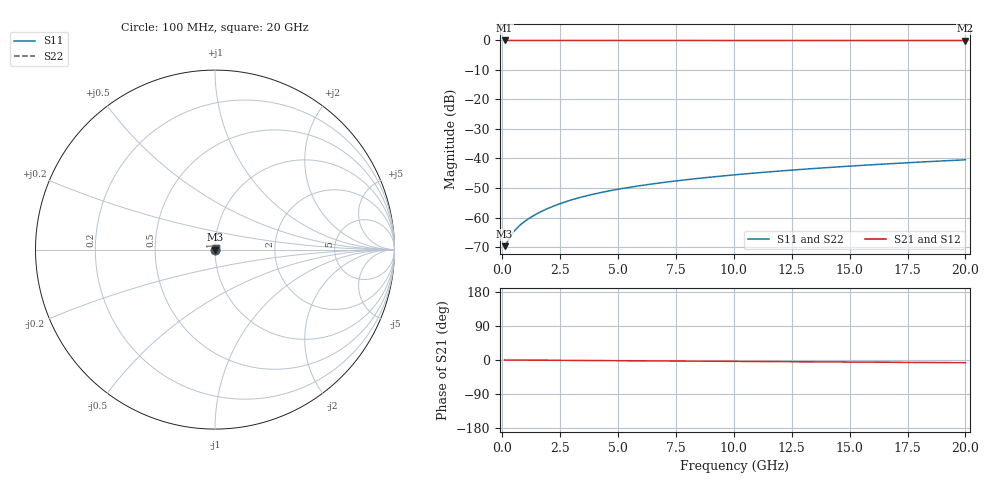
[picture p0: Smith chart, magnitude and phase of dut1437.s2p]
! Touchstone file exported from HFSS 2026.1.0
!  File:  C:/ffzhzh/LocalFiles/Ansys_Project_Files/temp_train_TSV_1437_1783197627_43440.aedt
!  Generated:  04:42:01 AM Jul  5, 2026
!  Design:  TSV
!  Project:  temp_train_TSV_1437_1783197627_43440
! Variables:
!  h_bsmrdl = 2um
!  h_ox = 20um
!  h_rdl = 5um
!  h_sub = 74.68um
!  h_tmrdl = 5um
!  h_tsv = 74.68um
!  h_via = 3um
!  l_bsmrdl = 300um
!  l_sub = 411.18um
!  l_tmrdl = 200um
!  m_sub = 200um
!  pitch = 25.06um
!  r_tsv = 5.59um
!  s_tmrdl = 10um
!  w_bsmrdl = 18um
!  w_sub = 500um
!  w_tmrdl = 12um
!  x_tsv_center1 = 206um
!  x_tsv_center2 = 524um
!  x_tsv_center3 = 736um
!  x_tsv_center4 = 1054um
!  x_tsv_center5 = 1266um
!  x_tsv_center6 = 1584um
# GHz S MA R 50.000000
! Terminal data exported
! Port[1] = TSV1_1_T1
! Port[2] = TSV1_1_T2
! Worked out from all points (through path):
!   200 points, 100 MHz to 20 GHz, reference 50 ohm
!   highest |S21| = 0.00 dB at 100 MHz (marker M1); lowest = 0.0 dB at 20 GHz (marker M2)
!   lowest |S11| = -69.7 dB at 100 MHz (marker M3), VSWR 1.00, Z = 50 + j0.00962 ohm
!   |S11| at or under -10 dB: start of sweep to end of sweep
!   |S22| runs from -69.7 to -40.4 dB; largest |S21 - S12| = 3.2e-15
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0.1  0.0003268 17.1  0.9997 -0.0  0.9997 -0.0  0.0003268 17.1
! Gamma 0 0 0 0
! Port Impedance 50 0 50 0
0.4  0.0005104 43.1  0.9996 -0.2  0.9996 -0.2  0.0005104 43.1
0.5  0.000577 46.7  0.9996 -0.2  0.9996 -0.2  0.000577 46.7
0.6  0.0006409 49.3  0.9996 -0.2  0.9996 -0.2  0.0006409 49.3
0.7  0.0007022 51.3  0.9996 -0.3  0.9996 -0.3  0.0007023 51.3
0.9  0.0008197 54.7  0.9995 -0.3  0.9995 -0.3  0.0008197 54.7
1.2  0.0009903 58.4  0.9995 -0.4  0.9995 -0.4  0.0009903 58.4
1.4  0.001103 60.3  0.9995 -0.5  0.9995 -0.5  0.001103 60.3
1.7  0.001273 62.6  0.9994 -0.6  0.9994 -0.6  0.001273 62.6
2.2  0.001554 65.1  0.9994 -0.8  0.9994 -0.8  0.001554 65.1
2.8  0.001886 66.9  0.9993 -1.0  0.9993 -1.0  0.001886 66.9
3.5  0.00226 68.1  0.9992 -1.3  0.9992 -1.3  0.00226 68.1
4.2  0.002619 68.8  0.9991 -1.5  0.9991 -1.5  0.002619 68.8
5  0.003013 69.3  0.999 -1.8  0.999 -1.8  0.003012 69.3
5.8  0.003392 69.7  0.9989 -2.1  0.9989 -2.1  0.003392 69.7
6.8  0.003853 70.1  0.9988 -2.5  0.9988 -2.5  0.003853 70.1
8.3  0.004525 70.7  0.9987 -3.0  0.9987 -3.0  0.004525 70.7
10.1  0.005316 71.1  0.9986 -3.6  0.9986 -3.6  0.005316 71.1
11.7  0.006011 71.4  0.9985 -4.2  0.9985 -4.2  0.006011 71.4
13.4  0.006743 71.5  0.9984 -4.8  0.9984 -4.8  0.006743 71.5
16.7  0.008141 71.3  0.9982 -6.0  0.9982 -6.0  0.00814 71.3
20  0.0095 70.8  0.998 -7.1  0.998 -7.1  0.0095 70.9
